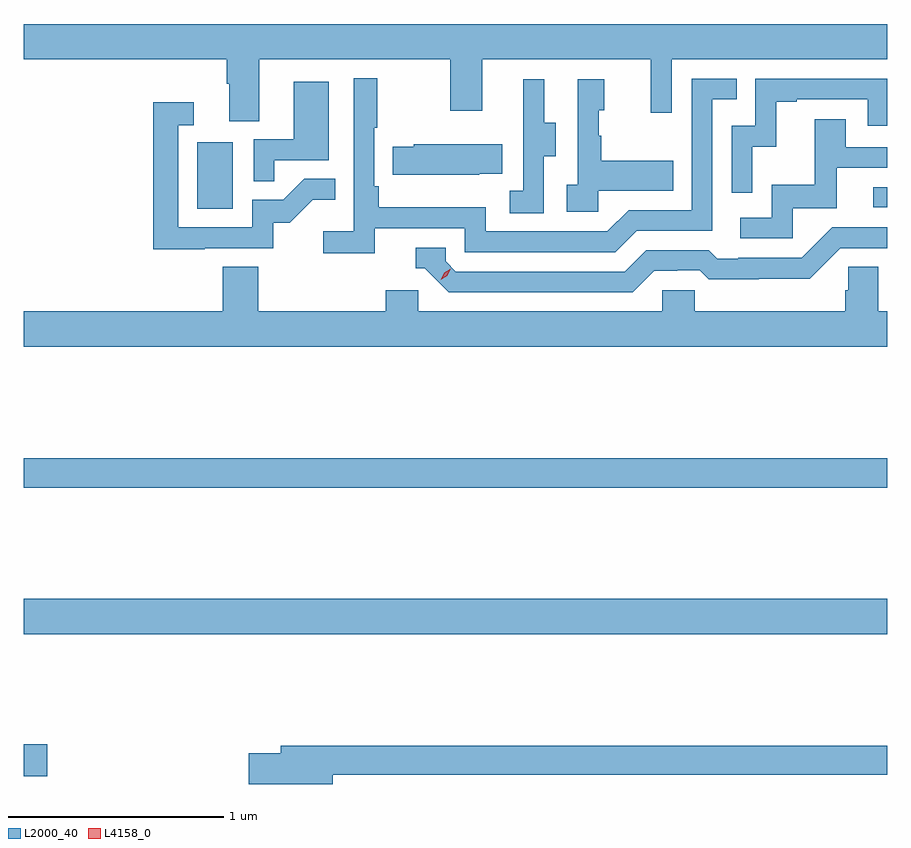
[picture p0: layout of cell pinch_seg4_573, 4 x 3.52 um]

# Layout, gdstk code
import gdstk
lib = gdstk.Library(unit=1e-6, precision=1e-09)
def R(c, l, rs):  # rectangles x0, y0, x1, y1
    for r in rs: c.add(gdstk.rectangle(r[:2], r[2:], *l))
def P(c, l, *ps):  # polygons
    for p in ps: c.add(gdstk.Polygon(p, *l))
L2000_40 = (2000, 40)
L4158_0 = (4158, 0)

pinch_seg4_573 = lib.new_cell('pinch_seg4_573')
R(pinch_seg4_573, L2000_40, [(1077.38,778.847,1077.487,778.994), (1077.38,779.504,1081.38,779.668), (1077.38,780.184,1081.38,780.32), (1078.184,781.476,1078.348,781.783), (1081.317,781.482,1081.38,781.575)])
P(pinch_seg4_573, L2000_40, [(1078.471,782.168),(1079.356,782.168),(1079.356,781.929),(1079.503,781.929),(1079.503,782.168),(1080.284,782.168),(1080.284,781.92),(1080.381,781.92),(1080.381,782.168),(1081.38,782.168),(1081.38,782.332),(1077.38,782.332),(1077.38,782.168),(1078.319,782.168),(1078.319,782.056),(1078.331,782.056),(1078.331,781.882),(1078.471,781.882)],
  [(1079.006,781.386),(1079.424,781.386),(1079.424,781.275),(1080.121,781.275),(1080.22,781.374),(1080.57,781.374),(1080.57,781.983),(1080.683,781.983),(1080.683,782.079),(1080.474,782.079),(1080.474,781.47),(1080.183,781.47),(1080.084,781.371),(1079.52,781.371),(1079.52,781.483),(1079.024,781.483),(1079.024,781.579),(1079.004,781.579),(1079.004,781.852),(1079.017,781.852),(1079.017,782.08),(1078.908,782.08),(1078.908,781.372),(1078.767,781.372),(1078.767,781.27),(1079.006,781.27)],
  [(1080.756,781.763),(1080.866,781.763),(1080.866,781.971),(1080.961,781.971),(1080.961,781.983),(1081.29,781.983),(1081.29,781.86),(1081.38,781.86),(1081.38,782.079),(1080.768,782.079),(1080.768,781.86),(1080.66,781.86),(1080.66,781.551),(1080.756,781.551)],
  [(1079.79,781.72),(1079.845,781.72),(1079.845,781.875),(1079.791,781.875),(1079.791,782.077),(1079.693,782.077),(1079.693,781.863),(1079.694,781.863),(1079.694,781.559),(1079.631,781.559),(1079.631,781.456),(1079.79,781.456)],
  [(1080.042,781.559),(1080.389,781.559),(1080.389,781.699),(1080.055,781.699),(1080.055,781.814),(1080.045,781.814),(1080.045,781.932),(1080.07,781.932),(1080.07,782.077),(1079.946,782.077),(1079.946,781.586),(1079.895,781.586),(1079.895,781.461),(1080.042,781.461)],
  [(1078.541,781.701),(1078.792,781.701),(1078.792,782.065),(1078.631,782.065),(1078.631,781.797),(1078.446,781.797),(1078.446,781.603),(1078.541,781.603)],
  [(1078.217,781.293),(1078.536,781.293),(1078.536,781.41),(1078.612,781.41),(1078.719,781.517),(1078.823,781.517),(1078.823,781.616),(1078.68,781.616),(1078.582,781.518),(1078.437,781.518),(1078.437,781.389),(1078.095,781.389),(1078.095,781.863),(1078.168,781.863),(1078.168,781.969),(1077.979,781.969),(1077.979,781.288),(1078.217,781.288)],
  [(1080.942,781.479),(1081.147,781.479),(1081.147,781.665),(1081.38,781.665),(1081.38,781.761),(1081.189,781.761),(1081.189,781.891),(1081.045,781.891),(1081.045,781.588),(1080.846,781.588),(1080.846,781.434),(1080.699,781.434),(1080.699,781.338),(1080.942,781.338)],
  [(1079.489,781.637),(1079.597,781.637),(1079.597,781.774),(1079.187,781.774),(1079.187,781.764),(1079.089,781.764),(1079.089,781.634),(1079.489,781.634)],
  [(1080.301,781.188),(1080.408,781.188),(1080.408,781.191),(1080.511,781.191),(1080.553,781.149),(1080.786,781.149),(1080.786,781.151),(1081.022,781.151),(1081.164,781.293),(1081.38,781.293),(1081.38,781.389),(1081.125,781.389),(1080.984,781.248),(1080.691,781.248),(1080.691,781.245),(1080.592,781.245),(1080.553,781.284),(1080.264,781.284),(1080.165,781.185),(1079.382,781.185),(1079.334,781.233),(1079.334,781.296),(1079.195,781.296),(1079.195,781.2),(1079.238,781.2),(1079.349,781.089),(1080.202,781.089)],
  [(1081.38,781),(1081.338,781),(1081.338,781.208),(1081.201,781.208),(1081.201,781.098),(1081.187,781.098),(1081.187,781),(1080.489,781),(1080.489,781.098),(1080.339,781.098),(1080.339,781),(1079.208,781),(1079.208,781.098),(1079.057,781.098),(1079.057,781),(1078.466,781),(1078.466,781.208),(1078.301,781.208),(1078.301,781),(1077.38,781),(1077.38,780.836),(1081.38,780.836)],
  [(1078.81,778.852),(1081.38,778.852),(1081.38,778.988),(1078.571,778.988),(1078.571,778.952),(1078.422,778.952),(1078.422,778.81),(1078.81,778.81)])
P(pinch_seg4_573, L4158_0, [(1079.311,781.147),(1079.311,781.147),(1079.328,781.179),(1079.358,781.198),(1079.358,781.198),(1079.358,781.198),(1079.342,781.166),(1079.312,781.147)])

lib.write_gds('pinch_seg4_573.gds')
